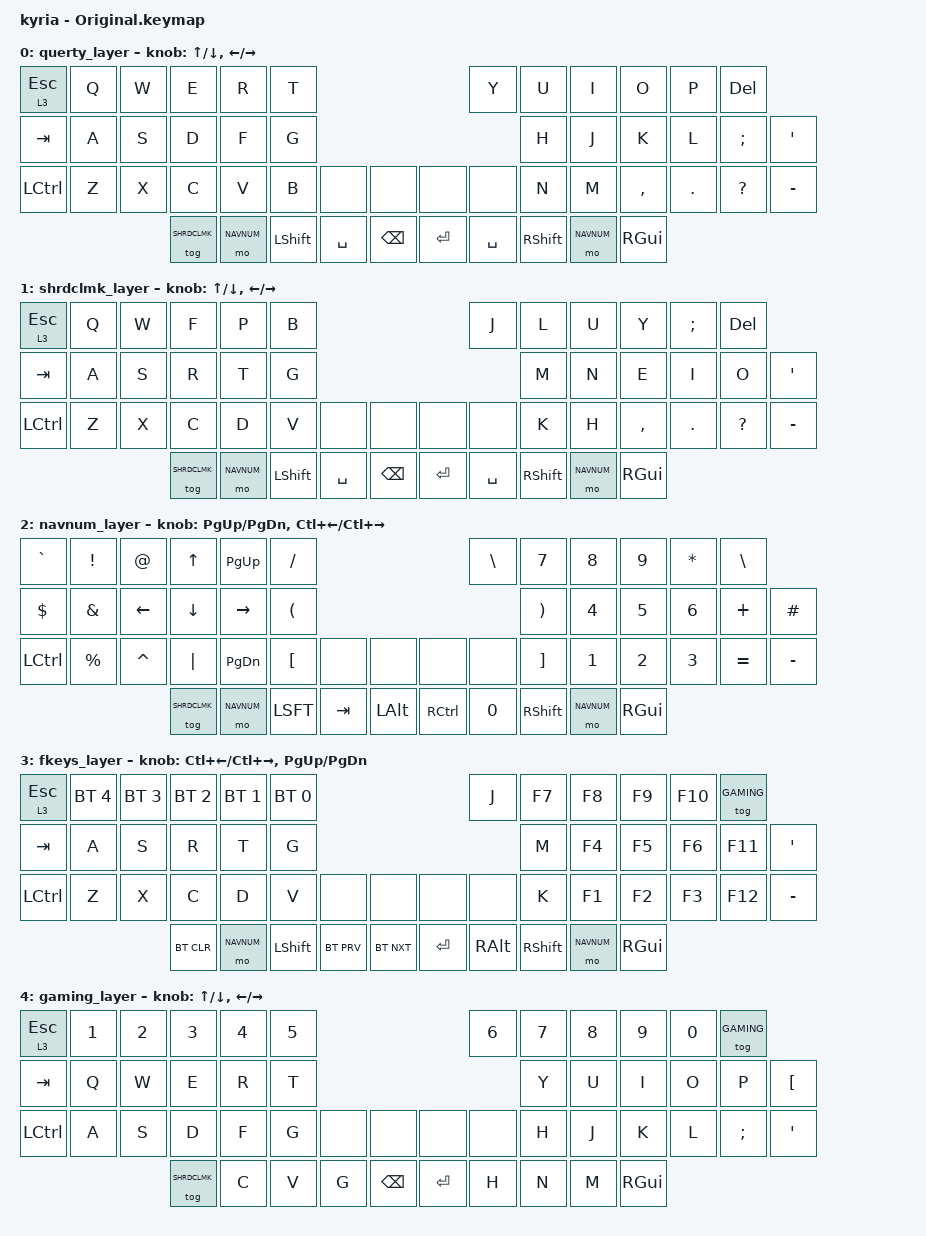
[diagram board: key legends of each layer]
/*
 * Copyright (c) 2020 The ZMK Contributors
 *
 * SPDX-License-Identifier: MIT
 */

#include <behaviors.dtsi>
#include <dt-bindings/zmk/keys.h>
#include <dt-bindings/zmk/bt.h>

#define QUERTY 0
#define SHRDCLMK 1
#define NAVNUM 2
#define FKEYS 3
#define GAMING 4

/ {
	keymap {
		compatible = "zmk,keymap";

		querty_layer {
// QWERTY Layer
//
// ,-------------------------------------------.                              ,-------------------------------------------.
// |FKys/ESC|   Q  |   W  |   E  |   R  |   T  |                              |   Y  |   U  |   I  |   O  |   P  |  Del   |
// |--------+------+------+------+------+------|                              |------+------+------+------+------+--------|
// |  TAB   |   A  |   S  |  D   |   F  |   G  |                              |   H  |   J  |   K  |   L  | ;  : |  ' "   |
// |--------+------+------+------+------+------+-------------.  ,-------------+------+------+------+------+------+--------|
// |  LCtrl |   Z  |   X  |   C  |   V  |   B  |      |      |  |      |      |   N  |   M  | ,  < | . >  |  ?   |  - _   |
// `----------------------+------+------+------|Space |Backsp|  |Enter |Space |------+------+------+----------------------'
//                        | Tog 2| MO(2)|LShift|      |      |  |      |      |RShift| MO(2)|R GUI |
//                        |      |      |      |      |      |  |      |      |      |      |      |
//                        `----------------------------------'  `----------------------------------'
			bindings = <
	&lt 3 ESC	&kp Q	&kp W		&kp E		&kp R				&kp T                                           			&kp Y		&kp U				&kp I		&kp O		&kp P		&kp DEL
	&kp TAB					&kp A	&kp S		&kp D		&kp F				&kp G                                           			&kp H		&kp J				&kp K		&kp L		&kp SEMI	&kp SQT
	&kp LCTRL				&kp Z	&kp X		&kp C		&kp V				&kp B 		&none		&none		&none		&none		&kp N		&kp M				&kp COMMA	&kp DOT		&kp QMARK	&kp MINUS
												&tog SHRDCLMK	&mo NAVNUM	&kp LSHFT	&kp SPACE	&kp BSPC	&kp RET		&kp SPACE	&kp RSHFT	&mo NAVNUM	&kp RGUI
			>;

			sensor-bindings = <&inc_dec_kp UP DOWN &inc_dec_kp LEFT RIGHT>;
		};

				shrdclmk_layer {
// SHRDCLMK Layer: "Shredded" Colemak (Colemak DH with "S" & "R" swapped to better match QWERTY)
//
// ,-------------------------------------------.                              ,-------------------------------------------.
// |FKys/ESC|   Q  |   W  |   F  |   P  |   B  |                              |   J  |   L  |   U  |   Y  | ;  : |  Del   |
// |--------+------+------+------+------+------|                              |------+------+------+------+------+--------|
// |  TAB   |   A  |   S  |   R  |   T  |   G  |                              |   M  |   N  |   E  |   I  |  O   |  ' "   |
// |--------+------+------+------+------+------+-------------.  ,-------------+------+------+------+------+------+--------|
// |  LCtrl |   Z  |   X  |   C  |   D  |   V  |      |      |  |      |      |   K  |   H  | ,  < | . >  |  ?   |  - _   |
// `----------------------+------+------+------|Space |Backsp|  |Enter |Space |------+------+------+----------------------'
//                        | Tog 2| MO(2)|LShift|      |      |  |      |      |RShift| MO(2)|R GUI |
//                        |      |      |      |      |      |  |      |      |      |      |      |
//                        `----------------------------------'  `----------------------------------'
			bindings = <
	&lt 3 ESC	&kp Q	&kp W		&kp F		&kp P	&kp B                                           			&kp J		&kp L	&kp U		&kp Y		&kp SEMI	&kp DEL
	&kp TAB		&kp A	&kp S		&kp R		&kp T	&kp G                                           			&kp M		&kp N	&kp E		&kp I		&kp O		&kp SQT
	&kp LCTRL	&kp Z	&kp X		&kp C		&kp D	&kp V 		&none		&none		&none		&none		&kp K		&kp H	&kp COMMA	&kp DOT		&kp QMARK	&kp MINUS
									&tog SHRDCLMK	&mo NAVNUM	&kp LSHFT	&kp SPACE	&kp BSPC	&kp RET		&kp SPACE	&kp RSHFT	&mo NAVNUM	&kp RGUI
			>;

			sensor-bindings = <&inc_dec_kp UP DOWN &inc_dec_kp LEFT RIGHT>;
		};
		
				navnum_layer {
// NAVNUM Layer: Symbols & Navigation
//
// ,-------------------------------------------.                              ,-------------------------------------------.
// |   `~   |  !   |  @   |  Up  | PgUp |  /?  |                              |   \  |  7   |  8   |  9   |  *   |  Del   |
// |--------+------+------+------+------+------|                              |------+------+------+------+------+--------|
// |    $   |  &   | Left | Down | Right|  (   |                              |   )  |  4   |  5   |  6   |  +   |   #    |
// |--------+------+------+------+------+------+-------------.  ,-------------+------+------+------+------+------+--------|
// |  LCtrl |  %   |  ^   |  |\  | PgDn |  [{  |      |      |  |      |      |  ]}  |  1   |  2   |  3   |  =   |  - _   |
// `----------------------+------+------+------|  Tab | LAlt |  | RCtrl| Zero |------+------+------+----------------------'
//                        | LAlt | MO(2)|LShift|      |      |  |      |      |RShift| MO(2)|R GUI |
//                        |      |      |      |      |      |  |      |      |      |      |      |
//                        `----------------------------------'  `----------------------------------'
			bindings = <
	&kp GRAVE	&kp EXCL	&kp AT		&kp UP		&kp PG_UP	&kp FSLH                                                		&kp BSLH	&kp N7  	&kp N8     	&kp N9  &kp STAR   	&kp BSLH
	&kp DLLR	&kp AMPS	&kp LEFT	&kp DOWN	&kp RIGHT	&kp LPAR                                                		&kp RPAR	&kp N4 		&kp N5    	&kp N6	&kp PLUS	&kp HASH
	&kp LCTRL	&kp PRCNT	&kp CARET	&kp PIPE	&kp PG_DN	&kp LBKT	&none		&none			&none		&none		&kp RBKT	&kp N1		&kp N2		&kp N3	&kp EQUAL	&kp MINUS
										&tog SHRDCLMK	&mo NAVNUM	&kp LSFT	&kp TAB		&kp LALT		&kp RCTRL	&kp N0		&kp RSHFT	&mo NAVNUM	&kp RGUI
			>;

			sensor-bindings = <&inc_dec_kp PG_UP PG_DN &inc_dec_kp LC(LEFT) LC(RIGHT)>;
		};
		
				fkeys_layer {
// F-Keys Layer
//
// ,-------------------------------------------.                              ,-------------------------------------------.
// |FKys/ESC|  BT4 |  BT3 |  BT2 |  BT1 |  BT0 |                              |   J  |  F7  |  F8  |  F9  | F10  | Tog GMG|
// |--------+------+------+------+------+------|                              |------+------+------+------+------+--------|
// |  TAB   |   A  |   S  |   R  |   T  |   G  |                              |   M  |  F4  |  F5  |  F6  | F11  |  ' "   |
// |--------+------+------+------+------+------+-------------.  ,-------------+------+------+------+------+------+--------|
// |  LCtrl |   Z  |   X  |   C  |   D  |   V  |      |      |  |      |      |   K  |  F1  |  F2  |  F3  | F12  |  - _   |
// `----------------------+------+------+------|BTNext|BTPrev|  |Enter |Space |------+------+------+----------------------'
//                        |BT Clr| MO(2)|LShift|      |      |  |      |      |RShift| MO(2)|R GUI |
//                        |      |      |      |      |      |  |      |      |      |      |      |
//                        `----------------------------------'  `----------------------------------'
			bindings = <
	&lt 3 ESC	&bt BT_SEL 4	&bt BT_SEL 3	&bt BT_SEL 2	&bt BT_SEL 1	&bt BT_SEL 0              			&kp J		&kp F7	&kp F8	&kp F9		&kp F10		&tog GAMING
	&kp TAB		&kp A	&kp S		&kp R		&kp T	&kp G                                           			&kp M		&kp F4	&kp F5	&kp F6		&kp F11		&kp SQT
	&kp LCTRL	&kp Z	&kp X		&kp C		&kp D	&kp V 		&none		&none		&none		&none		&kp K		&kp F1	&kp F2	&kp F3		&kp F12		&kp MINUS
									&bt  BT_CLR	&mo NAVNUM	&kp LSHFT	&bt BT_PRV	&bt BT_NXT	&kp RET		&kp RALT	&kp RSHFT	&mo NAVNUM	&kp RGUI
			>;

			sensor-bindings = <&inc_dec_kp LC(LEFT) LC(RIGHT) &inc_dec_kp PG_UP PG_DN>;
		};

		gaming_layer {
// GAMING Layer
//
// ,-------------------------------------------.                              ,-------------------------------------------.
// |FKys/ESC|   1  |   2  |   3  |   4  |   5  |                              |   6  |   7  |   8  |   9  |   0  | Tog GMG|
// |--------+------+------+------+------+------|                              |------+------+------+------+------+--------|
// |  TAB   |   Q  |   W  |   E  |   R  |   T  |                              |   Y  |   U  |   I  |   O  |   P  |  [ {   |
// |--------+------+------+------+------+------+-------------.  ,-------------+------+------+------+------+------+--------|
// |  LCtrl |   A  |   S  |   D  |   F  |   G  |      |      |  |      |      |   H  |   J  |   K  |   L  | ;  : |  ' "   |
// `----------------------+------+------+------|  V   |  G   |  |Enter |   N  |------+------+------+----------------------'
//                        | Tog 2| MO(2)|   C  |      |      |  |      |      |   M  | MO(2)|R GUI |
//                        |      |      |      |      |      |  |      |      |      |      |      |
//                        `----------------------------------'  `----------------------------------'
			bindings = <
	&lt 3 ESC	&kp N1		&kp N2		&kp N3		&kp N4				&kp N5                                           			&kp N6		&kp N7		&kp N8		&kp N9		&kp N0		&tog GAMING
	&kp TAB		&kp Q		&kp W		&kp E		&kp R				&kp T                                           			&kp Y		&kp U		&kp I		&kp O		&kp P		&kp LBKT
	&kp LCTRL	&kp A		&kp S		&kp D		&kp F				&kp G 		&none		&none		&none		&none		&kp H		&kp J		&kp K		&kp L		&kp SEMI	&kp SQT
										&tog SHRDCLMK		&kp C		&kp V		&kp G		&kp BSPC	&kp RET		&kp H		&kp N		&kp M		&kp RGUI
			>;

			sensor-bindings = <&inc_dec_kp UP DOWN &inc_dec_kp LEFT RIGHT>;
		};

	};
};

// Behavior code to have shift+backspace send delete instead of trigger OS shortcuts
//
// behaviors {
//		bspcdel: bspc_del {
//			compatible = "zmk,behavior-mod-morph";
//			label = "BSPC_DEL";
//			#binding-cells = <0>;
//			bindings = <&kp BSPC>, <&kp DEL>;
//		mods = <(MOD_LSFT)>;
//		};
//	};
